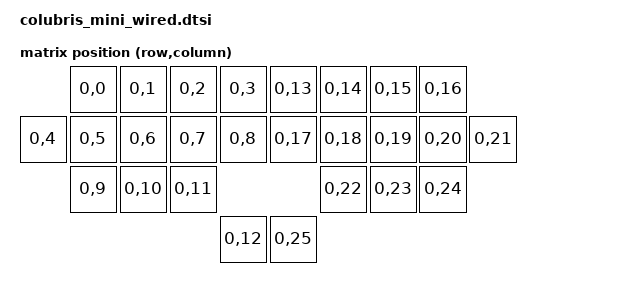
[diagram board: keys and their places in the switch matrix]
/*
 * Copyright (c) 2020 The ZMK Contributors
 *
 * SPDX-License-Identifier: MIT
 */

#include <dt-bindings/zmk/matrix_transform.h>
#include "colubris_mini_wired-layout.dtsi"
#include <dt-bindings/pinctrl/rpi-pico-rp2040-pinctrl.h>


&colubris_layout{
        kscan = <&kscan0>;
        transform = <&default_transform>;
};

/ {
    chosen {
        zmk,physical-layout = &colubris_layout;
    };

    
    default_transform: keymap_transform_0 {
        compatible = "zmk,matrix-transform";
        columns = <30>;
        rows = <1>;
        map = <
                     RC(0,0)  RC(0,1)  RC(0,2)  RC(0,3)       RC(0,13)  RC(0,14)  RC(0,15)  RC(0,16)    
            RC(0,4)  RC(0,5)  RC(0,6)  RC(0,7)  RC(0,8)       RC(0,17)  RC(0,18)  RC(0,19)  RC(0,20)  RC(0,21)    
                     RC(0,9)  RC(0,10) RC(0,11)                         RC(0,22)  RC(0,23)  RC(0,24)  
                                                RC(0,12)      RC(0,25) 
        >;
    };

    kscan0: kscan0 {
        compatible = "zmk,kscan-gpio-direct";
        wakeup-source;
    };

    &pinctrl {
  uart0_default: uart0_default {
    group1 {
      pinmux = <UART0_TX_P12>;        // TX on GPIO12
    };
    group2 {
      pinmux = <UART0_RX_P13>;        // RX on GPIO13
      input-enable;
    };
  };
};

&uart0 {
  status = "okay";
  pinctrl-0 = <&uart0_default>;
  pinctrl-names = "default";
};


    wired_split {
        compatible = "zmk,wired-split";
        device = <&uart0_default>;
    };

};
